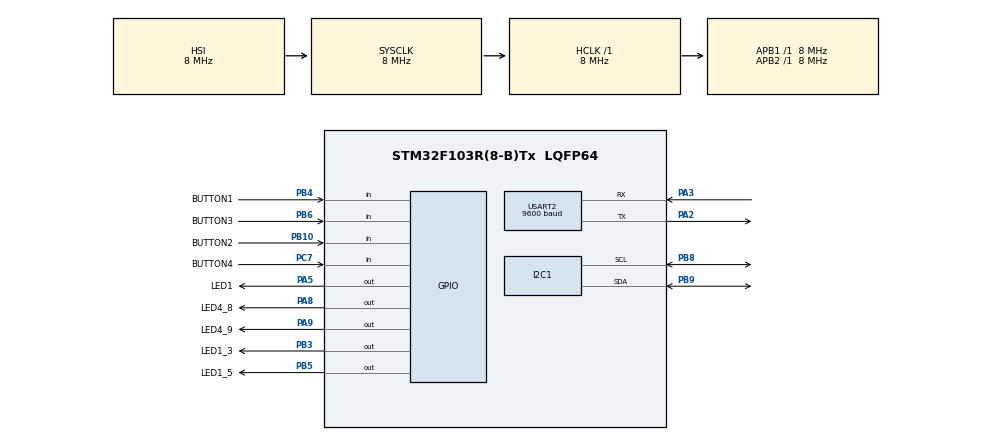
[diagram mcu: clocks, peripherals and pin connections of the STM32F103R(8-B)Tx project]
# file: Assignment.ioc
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Mcu.Family=STM32F1
Mcu.Name=STM32F103R(8-B)Tx
Mcu.Package=LQFP64
NVIC.PriorityGroup=NVIC_PRIORITYGROUP_4
NVIC.TIM2_IRQn=true\:0\:0\:false\:false\:true\:true\:true
NVIC.USART2_IRQn=true\:1\:0\:true\:false\:true\:true\:true
PA13.Mode=Serial_Wire
PA13.Signal=SYS_JTMS-SWDIO
PA14.Mode=Serial_Wire
PA14.Signal=SYS_JTCK-SWCLK
PA2.Mode=Asynchronous
PA2.Signal=USART2_TX
PA3.Mode=Asynchronous
PA3.Signal=USART2_RX
PA5.GPIO_Label=LED1
PA5.Signal=GPIO_Output
PA8.GPIO_Label=LED4_8
PA8.Signal=GPIO_Output
PA9.GPIO_Label=LED4_9
PA9.Signal=GPIO_Output
PB10.GPIO_Label=BUTTON2
PB10.GPIO_PuPd=GPIO_PULLDOWN
PB10.Signal=GPIO_Input
PB3.GPIO_Label=LED1_3
PB3.Signal=GPIO_Output
PB4.GPIO_Label=BUTTON1
PB4.GPIO_PuPd=GPIO_PULLDOWN
PB4.Signal=GPIO_Input
PB5.GPIO_Label=LED1_5
PB5.Signal=GPIO_Output
PB6.GPIO_Label=BUTTON3
PB6.GPIO_PuPd=GPIO_PULLDOWN
PB6.Signal=GPIO_Input
PB8.Mode=I2C
PB8.Signal=I2C1_SCL
PB9.Mode=I2C
PB9.Signal=I2C1_SDA
PC7.GPIO_Label=BUTTON4
PC7.GPIO_PuPd=GPIO_PULLDOWN
PC7.Signal=GPIO_Input
ProjectManager.HeapSize=0x200
ProjectManager.StackSize=0x400
ProjectManager.TargetToolchain=STM32CubeIDE
RCC.AHBFreq_Value=8000000
RCC.APB1Freq_Value=8000000
RCC.APB1TimFreq_Value=8000000
RCC.APB2Freq_Value=8000000
RCC.APB2TimFreq_Value=8000000
RCC.HCLKFreq_Value=8000000
RCC.SYSCLKFreq_VALUE=8000000
RCC.USBFreq_Value=8000000
TIM2.Period=9
TIM2.Prescaler=7999
USART2.BaudRate=9600
USART2.VirtualMode=VM_ASYNC
VP_TIM2_VS_ClockSourceINT.Mode=Internal
board=custom

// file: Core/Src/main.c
/* USER CODE BEGIN Header */
/**
  ******************************************************************************
  * @file           : main.c
  * @brief          : Main program body
  ******************************************************************************
  * @attention
  *
  * <h2><center>&copy; Copyright (c) 2024 STMicroelectronics.
  * All rights reserved.</center></h2>
  *
  * This software component is licensed by ST under BSD 3-Clause license,
  * the "License"; You may not use this file except in compliance with the
  * License. You may obtain a copy of the License at:
  *                        opensource.org/licenses/BSD-3-Clause
  *
  ******************************************************************************
  */
/* USER CODE END Header */
#include "main.h"

/* USER CODE BEGIN Includes */
#include "button.h"
#include "software_timer.h"
#include "fsm_manual.h"
#include "fsm_automatic.h"
#include "i2c-lcd.h"
#include "string.h"
#include <stdio.h>
#include <stdlib.h>
/* USER CODE END Includes */

I2C_HandleTypeDef hi2c1;

TIM_HandleTypeDef htim2;

UART_HandleTypeDef huart2;

void SystemClock_Config(void);
static void MX_GPIO_Init(void);
static void MX_TIM2_Init(void);
static void MX_I2C1_Init(void);
static void MX_USART2_UART_Init(void);
/* USER CODE BEGIN PFP */
uint8_t senddata[]="Hello STM ->ESP";

/* USER CODE END PFP */

/* USER CODE BEGIN 0 */
void HAL_UART_RxCpltCallback(UART_HandleTypeDef *huart)
{
	HAL_UART_Receive_IT(&huart2, (uint8_t *)&rec, 1);
	if (rec != 13 && rec != '\r' && rec != '\n') { // Loại b�? ký tự Enter hoặc xuống dòng
	    buffer[i++] = rec; // Thêm ký tự hợp lệ vào buffer
	    if (i >= sizeof(buffer) - 1) { // Tránh tràn buffer
	      i = sizeof(buffer) - 1;
	    }
	  }

  if (rec == 13) { // Khi nhận được Enter (Carriage Return)
    i = 0; // Reset chỉ số để nhận chuỗi mới
    rec = '\0';

    int len = strlen(buffer);
    while (len > 0 && (buffer[len - 1] == '\r' || buffer[len - 1] == '\n')) {
      buffer[--len] = '\0';
    }

    HAL_UART_Transmit(&huart2, (uint8_t *)buffer, strlen((char *)buffer), 100);
    if (strcmp(buffer, "START") == 0) {
    	      status0 = MODE1;
    	      HAL_GPIO_TogglePin(LED1_GPIO_Port, LED1_Pin);
    	      setTimer0(3, 1010);
    	      setTimer0(2, 10);
    	      setTimer0(1, 1010);
    	      setTimer0(0, 1010);
    	      status1 = INIT_LED;
    	      status2 = INIT_LED;
    	      status0 = MODE1;
    	      status3 = INIT_LED;
    	      status4 = INIT_LED;
    	      time_lane1 = MODE1 % 10;
    	      time_lane2 = 0;
    	      clearAll();
    }
    if (strcmp(buffer, "RESTART") == 0) {
            clearAll();
            lcd_send_cmd (0x80);
            lcd_goto_XY(1,4);
            status0 = INIT_BUTTON;
    }
    if (strcmp(buffer, "MANUAL1") == 0) {
            clearAll();
            lcd_send_cmd (0x80);
            lcd_goto_XY(1,4);
            status0 = INIT_BUTTON;
            traffic_light1(AUTO_RED1);
            traffic_light2(AUTO_GREEN2);
            time_lane1 = 0;
            time_lane2 = 0;
    }
    if (strcmp(buffer, "MANUAL2") == 0) {
            clearAll();
            lcd_send_cmd (0x80);
            lcd_goto_XY(1,4);
            status0 = INIT_BUTTON;
            traffic_light1(AUTO_GREEN1);
            traffic_light2(AUTO_RED2);
            time_lane1 = 0;
            time_lane2 = 0;
    }
    if (strcmp(buffer, "MANUAL3") == 0) {
            clearAll();
            lcd_send_cmd (0x80);
            lcd_goto_XY(1,4);
            status0 = INIT_BUTTON;
            traffic_light1(AUTO_AMBER1);
            traffic_light2(AUTO_AMBER2);
            time_lane1 = 0;
            time_lane2 = 0;
    }
    if (strncmp(buffer, "Set_up!", 7) == 0) {
        char *token = strtok(buffer, "!");
        int index = 0;

        while (token != NULL) {
          if (index == 1) TIME_RED = atoi(token) * 1000;
          if (index == 2) TIME_YELLOW = atoi(token) * 1000;
          if (index == 3) TIME_GREEN = atoi(token) * 1000;
          token = strtok(NULL, "!");
          index++;
        }
        clearAll();
        lcd_send_cmd (0x80);
        lcd_goto_XY(1,4);
        status0 = INIT_BUTTON;
    }

    // Xóa buffer
    memset(buffer, 0, sizeof(buffer));
  }

  // Tiếp tục nhận dữ liệu
}

/* USER CODE END 0 */

int main(void)
{

  /* MCU Configuration--------------------------------------------------------*/

  /* Reset of all peripherals, Initializes the Flash interface and the Systick. */
  HAL_Init();

  /* Configure the system clock */
  SystemClock_Config();

  /* Initialize all configured peripherals */
  MX_GPIO_Init();
  MX_TIM2_Init();
  MX_I2C1_Init();
  MX_USART2_UART_Init();
  /* USER CODE BEGIN 2 */
  HAL_TIM_Base_Start_IT(&htim2);
  HAL_UART_Transmit(&huart2, senddata,sizeof(senddata),100);
  HAL_UART_Receive_IT(&huart2,(uint8_t *)&rec,1);
  /* USER CODE END 2 */

  /* Infinite loop */
  /* USER CODE BEGIN WHILE */

  lcd_init();
  status0 = INIT_BUTTON;
  while (1)
  {
    /* USER CODE END WHILE */
	  fsm_automatic_run();
	  fsm_manual_run();
  }
}

void SystemClock_Config(void)
{
  RCC_OscInitTypeDef RCC_OscInitStruct = {0};
  RCC_ClkInitTypeDef RCC_ClkInitStruct = {0};

  /** Initializes the RCC Oscillators according to the specified parameters
  * in the RCC_OscInitTypeDef structure.
  */
  RCC_OscInitStruct.OscillatorType = RCC_OSCILLATORTYPE_HSI;
  RCC_OscInitStruct.HSIState = RCC_HSI_ON;
  RCC_OscInitStruct.HSICalibrationValue = RCC_HSICALIBRATION_DEFAULT;
  RCC_OscInitStruct.PLL.PLLState = RCC_PLL_NONE;
  if (HAL_RCC_OscConfig(&RCC_OscInitStruct) != HAL_OK)
  {
    Error_Handler();
  }
  /** Initializes the CPU, AHB and APB buses clocks
  */
  RCC_ClkInitStruct.ClockType = RCC_CLOCKTYPE_HCLK|RCC_CLOCKTYPE_SYSCLK
                              |RCC_CLOCKTYPE_PCLK1|RCC_CLOCKTYPE_PCLK2;
  RCC_ClkInitStruct.SYSCLKSource = RCC_SYSCLKSOURCE_HSI;
  RCC_ClkInitStruct.AHBCLKDivider = RCC_SYSCLK_DIV1;
  RCC_ClkInitStruct.APB1CLKDivider = RCC_HCLK_DIV1;
  RCC_ClkInitStruct.APB2CLKDivider = RCC_HCLK_DIV1;

  if (HAL_RCC_ClockConfig(&RCC_ClkInitStruct, FLASH_LATENCY_0) != HAL_OK)
  {
    Error_Handler();
  }
}

static void MX_I2C1_Init(void)
{

  hi2c1.Instance = I2C1;
  hi2c1.Init.ClockSpeed = 100000;
  hi2c1.Init.DutyCycle = I2C_DUTYCYCLE_2;
  hi2c1.Init.OwnAddress1 = 0;
  hi2c1.Init.AddressingMode = I2C_ADDRESSINGMODE_7BIT;
  hi2c1.Init.DualAddressMode = I2C_DUALADDRESS_DISABLE;
  hi2c1.Init.OwnAddress2 = 0;
  hi2c1.Init.GeneralCallMode = I2C_GENERALCALL_DISABLE;
  hi2c1.Init.NoStretchMode = I2C_NOSTRETCH_DISABLE;
  if (HAL_I2C_Init(&hi2c1) != HAL_OK)
  {
    Error_Handler();
  }

}

static void MX_TIM2_Init(void)
{

  TIM_ClockConfigTypeDef sClockSourceConfig = {0};
  TIM_MasterConfigTypeDef sMasterConfig = {0};

  htim2.Instance = TIM2;
  htim2.Init.Prescaler = 7999;
  htim2.Init.CounterMode = TIM_COUNTERMODE_UP;
  htim2.Init.Period = 9;
  htim2.Init.ClockDivision = TIM_CLOCKDIVISION_DIV1;
  htim2.Init.AutoReloadPreload = TIM_AUTORELOAD_PRELOAD_DISABLE;
  if (HAL_TIM_Base_Init(&htim2) != HAL_OK)
  {
    Error_Handler();
  }
  sClockSourceConfig.ClockSource = TIM_CLOCKSOURCE_INTERNAL;
  if (HAL_TIM_ConfigClockSource(&htim2, &sClockSourceConfig) != HAL_OK)
  {
    Error_Handler();
  }
  sMasterConfig.MasterOutputTrigger = TIM_TRGO_RESET;
  sMasterConfig.MasterSlaveMode = TIM_MASTERSLAVEMODE_DISABLE;
  if (HAL_TIMEx_MasterConfigSynchronization(&htim2, &sMasterConfig) != HAL_OK)
  {
    Error_Handler();
  }

}

static void MX_USART2_UART_Init(void)
{

  huart2.Instance = USART2;
  huart2.Init.BaudRate = 9600;
  huart2.Init.WordLength = UART_WORDLENGTH_8B;
  huart2.Init.StopBits = UART_STOPBITS_1;
  huart2.Init.Parity = UART_PARITY_NONE;
  huart2.Init.Mode = UART_MODE_TX_RX;
  huart2.Init.HwFlowCtl = UART_HWCONTROL_NONE;
  huart2.Init.OverSampling = UART_OVERSAMPLING_16;
  if (HAL_UART_Init(&huart2) != HAL_OK)
  {
    Error_Handler();
  }

}

static void MX_GPIO_Init(void)
{
  GPIO_InitTypeDef GPIO_InitStruct = {0};

  /* GPIO Ports Clock Enable */
  __HAL_RCC_GPIOA_CLK_ENABLE();
  __HAL_RCC_GPIOB_CLK_ENABLE();
  __HAL_RCC_GPIOC_CLK_ENABLE();

  /*Configure GPIO pin Output Level */
  HAL_GPIO_WritePin(GPIOA, LED1_Pin|LED4_8_Pin|LED4_9_Pin, GPIO_PIN_RESET);

  /*Configure GPIO pin Output Level */
  HAL_GPIO_WritePin(GPIOB, LED1_3_Pin|LED1_5_Pin, GPIO_PIN_RESET);

  /*Configure GPIO pins : LED1_Pin LED4_8_Pin LED4_9_Pin */
  GPIO_InitStruct.Pin = LED1_Pin|LED4_8_Pin|LED4_9_Pin;
  GPIO_InitStruct.Mode = GPIO_MODE_OUTPUT_PP;
  GPIO_InitStruct.Pull = GPIO_NOPULL;
  GPIO_InitStruct.Speed = GPIO_SPEED_FREQ_LOW;
  HAL_GPIO_Init(GPIOA, &GPIO_InitStruct);

  /*Configure GPIO pins : BUTTON2_Pin BUTTON1_Pin BUTTON3_Pin */
  GPIO_InitStruct.Pin = BUTTON2_Pin|BUTTON1_Pin|BUTTON3_Pin;
  GPIO_InitStruct.Mode = GPIO_MODE_INPUT;
  GPIO_InitStruct.Pull = GPIO_PULLDOWN;
  HAL_GPIO_Init(GPIOB, &GPIO_InitStruct);

  /*Configure GPIO pin : BUTTON4_Pin */
  GPIO_InitStruct.Pin = BUTTON4_Pin;
  GPIO_InitStruct.Mode = GPIO_MODE_INPUT;
  GPIO_InitStruct.Pull = GPIO_PULLDOWN;
  HAL_GPIO_Init(BUTTON4_GPIO_Port, &GPIO_InitStruct);

  /*Configure GPIO pins : LED1_3_Pin LED1_5_Pin */
  GPIO_InitStruct.Pin = LED1_3_Pin|LED1_5_Pin;
  GPIO_InitStruct.Mode = GPIO_MODE_OUTPUT_PP;
  GPIO_InitStruct.Pull = GPIO_NOPULL;
  GPIO_InitStruct.Speed = GPIO_SPEED_FREQ_LOW;
  HAL_GPIO_Init(GPIOB, &GPIO_InitStruct);

}

/* USER CODE BEGIN 4 */
void HAL_TIM_PeriodElapsedCallback(TIM_HandleTypeDef *htim)
{
	getKeyInput();
	timer_run();
}
/* USER CODE END 4 */

void Error_Handler(void)
{
  __disable_irq();
  while (1)
  {
  }
}

/************************ (C) COPYRIGHT STMicroelectronics *****END OF FILE****/
